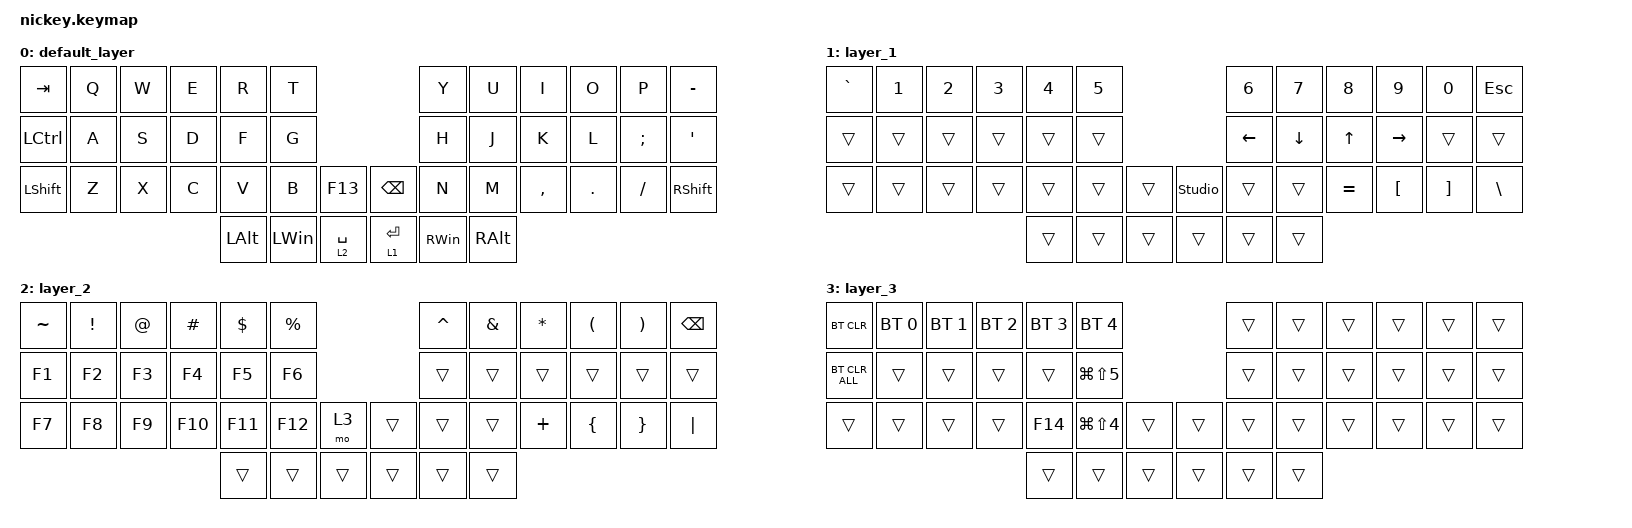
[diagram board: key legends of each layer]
#include <behaviors.dtsi>
#include <dt-bindings/zmk/bt.h>
#include <dt-bindings/zmk/keys.h>

&mt {
    flavor = "balanced";
    quick-tap-ms = <0>;
};

&lt {
    quick-tap-ms = <300>;
    flavor = "balanced";
};

/ {
    combos { compatible = "zmk,combos"; };

    macros {
        to_layer_0: to_layer_0 {
            compatible = "zmk,behavior-macro-one-param";
            #binding-cells = <1>;
            bindings = <&to 0 &macro_param_1to1 &kp MACRO_PLACEHOLDER>;
            label = "TO_LAYER_0";
        };
    };

    behaviors {
        lt_to_layer_0: lt_to_layer_0 {
            compatible = "zmk,behavior-hold-tap";
            label = "LAYER_TAP_TO_0";
            bindings = <&mo>, <&to_layer_0>;

            #binding-cells = <2>;
            tapping-term-ms = <200>;
        };
    };

    keymap {
        compatible = "zmk,keymap";

        default_layer {
            bindings = <
&kp TAB    &kp Q  &kp W  &kp E  &kp R         &kp T                                       &kp Y          &kp U     &kp I      &kp O    &kp P     &kp MINUS
&kp LCTRL  &kp A  &kp S  &kp D  &kp F         &kp G                                       &kp H          &kp J     &kp K      &kp L    &kp SEMI  &kp SQT
&kp LSHFT  &kp Z  &kp X  &kp C  &kp V         &kp B         &kp F13        &kp BACKSPACE  &kp N          &kp M     &kp COMMA  &kp DOT  &kp FSLH  &kp RSHIFT
                                &kp LEFT_ALT  &kp LEFT_WIN  &lt 2 SPACE    &lt 1 ENTER    &kp RIGHT_WIN  &kp RALT
            >;
        };

        layer_1 {
            bindings = <
&kp GRAVE  &kp NUMBER_1  &kp NUMBER_2  &kp NUMBER_3  &kp NUMBER_4  &kp NUMBER_5                            &kp NUMBER_6  &kp N7    &kp N8     &kp N9            &kp N0             &kp ESC
&trans     &trans        &trans        &trans        &trans        &trans                                  &kp LEFT      &kp DOWN  &kp UP     &kp RIGHT         &trans             &trans
&trans     &trans        &trans        &trans        &trans        &trans        &trans    &studio_unlock  &trans        &trans    &kp EQUAL  &kp LEFT_BRACKET  &kp RIGHT_BRACKET  &kp BSLH
                                                     &trans        &trans        &trans    &trans          &trans        &trans
            >;
        };

        layer_2 {
            bindings = <
&kp TILDE  &kp EXCLAMATION  &kp AT  &kp HASH  &kp DOLLAR  &kp PERCENT                    &kp CARET  &kp AMPERSAND  &kp ASTERISK  &kp LEFT_PARENTHESIS  &kp RIGHT_PARENTHESIS  &kp BACKSPACE
&kp F1     &kp F2           &kp F3  &kp F4    &kp F5      &kp F6                         &trans     &trans         &trans        &trans                &trans                 &trans
&kp F7     &kp F8           &kp F9  &kp F10   &kp F11     &kp F12      &mo 3     &trans  &trans     &trans         &kp PLUS      &kp LEFT_BRACE        &kp RIGHT_BRACE        &kp PIPE
                                              &trans      &trans       &trans    &trans  &trans     &trans
            >;
        };

        layer_3 {
            bindings = <
&bt BT_CLR      &bt BT_SEL 0  &bt BT_SEL 1  &bt BT_SEL 2  &bt BT_SEL 3  &bt BT_SEL 4                            &trans  &trans  &trans  &trans  &trans  &trans
&bt BT_CLR_ALL  &trans        &trans        &trans        &trans        &kp LG(LS(NUMBER_5))                    &trans  &trans  &trans  &trans  &trans  &trans
&trans          &trans        &trans        &trans        &kp F14       &kp LG(LS(NUMBER_4))  &trans    &trans  &trans  &trans  &trans  &trans  &trans  &trans
                                                          &trans        &trans                &trans    &trans  &trans  &trans
            >;
        };
    };
};
